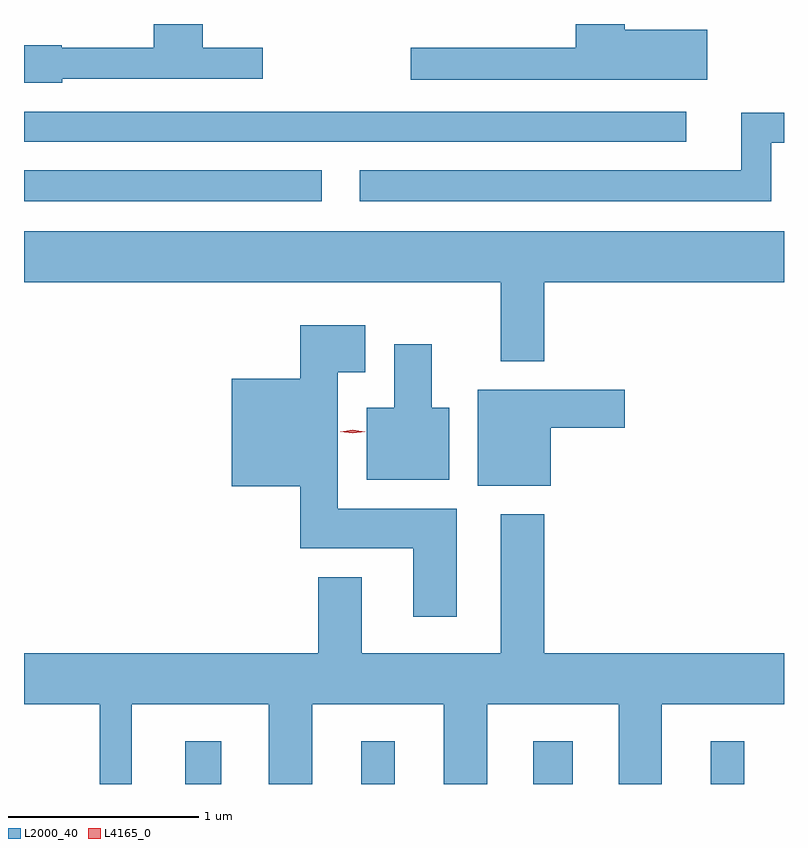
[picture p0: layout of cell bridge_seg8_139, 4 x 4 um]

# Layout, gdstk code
import gdstk
lib = gdstk.Library(unit=1e-6, precision=1e-09)
def R(c, l, rs):  # rectangles x0, y0, x1, y1
    for r in rs: c.add(gdstk.rectangle(r[:2], r[2:], *l))
def P(c, l, *ps):  # polygons
    for p in ps: c.add(gdstk.Polygon(p, *l))
L2000_40 = (2000, 40)
L4165_0 = (4165, 0)

bridge_seg8_139 = lib.new_cell('bridge_seg8_139')
R(bridge_seg8_139, L2000_40, [(1857.861,1860.415,1858.049,1860.639), (1858.786,1860.415,1858.964,1860.639), (1859.691,1860.415,1859.899,1860.639), (1860.626,1860.415,1860.804,1860.639), (1857.012,1863.481,1858.578,1863.644), (1857.012,1863.796,1860.498,1863.954)])
P(bridge_seg8_139, L2000_40, [(1857.214,1864.126),(1858.268,1864.126),(1858.268,1864.289),(1857.954,1864.289),(1857.954,1864.415),(1857.696,1864.415),(1857.696,1864.289),(1857.21,1864.289),(1857.21,1864.304),(1857.012,1864.304),(1857.012,1864.106),(1857.214,1864.106)],
  [(1860.609,1864.384),(1860.174,1864.384),(1860.174,1864.415),(1859.916,1864.415),(1859.916,1864.289),(1859.048,1864.289),(1859.048,1864.121),(1860.609,1864.121)],
  [(1860.944,1863.791),(1861.012,1863.791),(1861.012,1863.949),(1860.786,1863.949),(1860.786,1863.644),(1858.778,1863.644),(1858.778,1863.481),(1860.944,1863.481)],
  [(1859.749,1863.056),(1861.012,1863.056),(1861.012,1863.324),(1857.012,1863.324),(1857.012,1863.056),(1859.521,1863.056),(1859.521,1862.641),(1859.749,1862.641)],
  [(1859.289,1861.864),(1858.664,1861.864),(1858.664,1862.581),(1858.809,1862.581),(1858.809,1862.829),(1858.466,1862.829),(1858.466,1862.549),(1858.106,1862.549),(1858.106,1861.981),(1858.466,1861.981),(1858.466,1861.656),(1859.061,1861.656),(1859.061,1861.296),(1859.289,1861.296)],
  [(1859.249,1862.394),(1859.159,1862.394),(1859.159,1862.729),(1858.961,1862.729),(1858.961,1862.394),(1858.816,1862.394),(1858.816,1862.016),(1859.249,1862.016)],
  [(1859.784,1862.291),(1860.174,1862.291),(1860.174,1862.489),(1859.401,1862.489),(1859.401,1861.986),(1859.784,1861.986)],
  [(1857.579,1860.836),(1858.301,1860.836),(1858.301,1860.415),(1858.529,1860.415),(1858.529,1860.836),(1859.221,1860.836),(1859.221,1860.415),(1859.449,1860.415),(1859.449,1860.836),(1860.141,1860.836),(1860.141,1860.415),(1860.369,1860.415),(1860.369,1860.836),(1861.012,1860.836),(1861.012,1861.104),(1859.749,1861.104),(1859.749,1861.834),(1859.521,1861.834),(1859.521,1861.104),(1858.789,1861.104),(1858.789,1861.504),(1858.561,1861.504),(1858.561,1861.104),(1857.012,1861.104),(1857.012,1860.836),(1857.411,1860.836),(1857.411,1860.415),(1857.579,1860.415)])
P(bridge_seg8_139, L4165_0, [(1858.742,1862.26),(1858.676,1862.269),(1858.676,1862.27),(1858.676,1862.27),(1858.742,1862.28),(1858.808,1862.27),(1858.808,1862.27),(1858.808,1862.269)])

lib.write_gds('bridge_seg8_139.gds')
